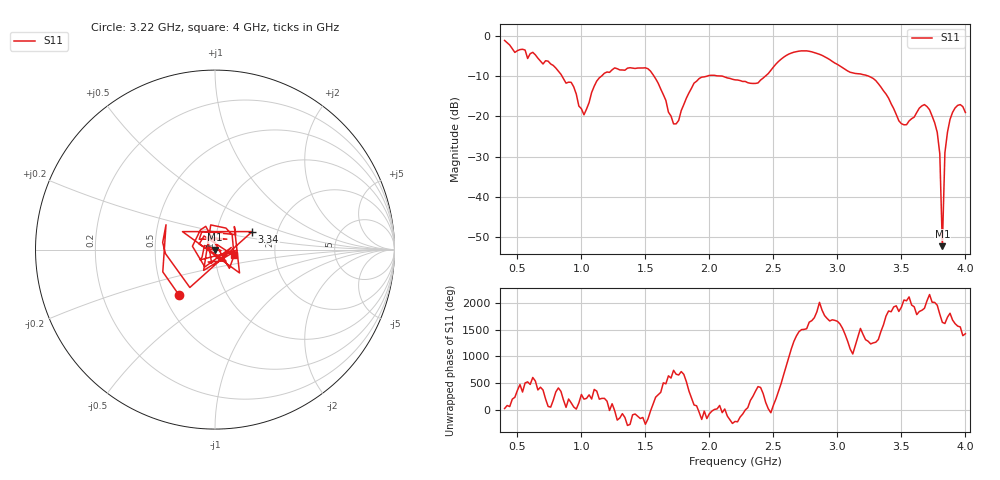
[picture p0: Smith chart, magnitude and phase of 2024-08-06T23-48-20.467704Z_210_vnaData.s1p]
!Created with skrf (http://scikit-rf.org).
# Hz S RI R 50.0
!freq ReS11 ImS11
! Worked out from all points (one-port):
!   181 points, 400 MHz to 4 GHz, reference 50 ohm
!   lowest |S11| = -52.2 dB at 3.82 GHz (marker M1), VSWR 1.00, Z = 49.8 - j0.0704 ohm
!   |S11| at or under -10 dB: 1.566 GHz to 1.987 GHz (420.7 MHz wide, 23.7 % of centre); 2.084 GHz to 2.439 GHz (355.2 MHz wide, 15.7 % of centre); 3.24 GHz to end of sweep (the widest 3 of 4)
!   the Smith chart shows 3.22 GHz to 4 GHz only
!   S11 on the Smith chart (normalised r, x): 3.22 GHz: 0.60, -0.34; 3.34 GHz: 1.48, +0.31; 4 GHz: 1.24, -0.08
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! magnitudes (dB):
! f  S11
! 400 MHz  -1.2
! 740 MHz  -6.3
! 860 MHz  -10.7
! 940 MHz  -12.7
! 1.02 GHz  -19.6
! 1.12 GHz  -11.3
! 1.3 GHz  -8.5
! 1.52 GHz  -8.2
! 1.6 GHz  -11.8
! 1.72 GHz  -21.9
! 1.76 GHz  -21.0
! 1.92 GHz  -10.6
! 2.2 GHz  -11.0
! 2.38 GHz  -11.7
! 2.66 GHz  -4.1
! 3.1 GHz  -9.1
! 3.22 GHz  -9.8
! 3.34 GHz  -12.8
! 3.48 GHz  -21.1
! 3.56 GHz  -21.2
! 3.68 GHz  -17.1
! 3.78 GHz  -24.0
! 3.8 GHz  -29.3
! 3.82 GHz  -52.2
! 3.84 GHz  -29.0
! 3.86 GHz  -24.0
! 3.92 GHz  -17.9
! 4 GHz  -19.1
